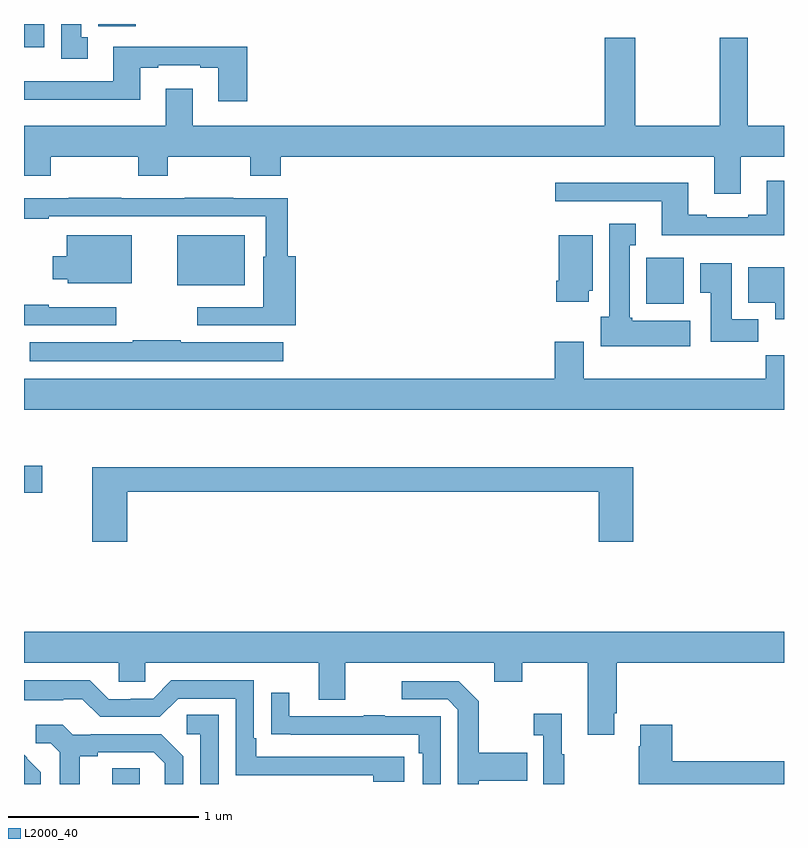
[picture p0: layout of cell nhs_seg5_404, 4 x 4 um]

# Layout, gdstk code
import gdstk
lib = gdstk.Library(unit=1e-6, precision=1e-09)
def R(c, l, rs):  # rectangles x0, y0, x1, y1
    for r in rs: c.add(gdstk.rectangle(r[:2], r[2:], *l))
def P(c, l, *ps):  # polygons
    for p in ps: c.add(gdstk.Polygon(p, *l))
L2000_40 = (2000, 40)

nhs_seg5_404 = lib.new_cell('nhs_seg5_404')
R(nhs_seg5_404, L2000_40, [(137.465,846.799,137.61,846.881), (137,848.333,137.095,848.475), (140.276,849.326,140.473,849.568), (137.807,849.425,138.163,849.688), (137,850.676,137.107,850.799), (137.391,850.788,137.587,850.799)])
P(nhs_seg5_404, L2000_40, [(137.335,850.729),(137.302,850.729),(137.302,850.799),(137.195,850.799),(137.195,850.617),(137.335,850.617)],
  [(140.773,850.1),(141,850.1),(141,850.264),(140.809,850.264),(140.809,850.726),(140.662,850.726),(140.662,850.264),(140.217,850.264),(140.217,850.726),(140.057,850.726),(140.057,850.264),(137.887,850.264),(137.887,850.459),(137.747,850.459),(137.747,850.264),(137,850.264),(137,850.001),(137.14,850.001),(137.14,850.1),(137.602,850.1),(137.602,850.001),(137.757,850.001),(137.757,850.1),(138.19,850.1),(138.19,850.001),(138.35,850.001),(138.35,850.1),(140.633,850.1),(140.633,849.906),(140.773,849.906)],
  [(138.176,850.678),(137.471,850.678),(137.471,850.497),(137,850.497),(137,850.4),(137.611,850.4),(137.611,850.569),(137.707,850.569),(137.707,850.581),(137.927,850.581),(137.927,850.569),(138.023,850.569),(138.023,850.392),(138.176,850.392)],
  [(141,849.973),(140.909,849.973),(140.909,849.796),(140.813,849.796),(140.813,849.783),(140.593,849.783),(140.593,849.796),(140.497,849.796),(140.497,849.964),(139.797,849.964),(139.797,849.867),(140.357,849.867),(140.357,849.686),(141,849.686)],
  [(138.431,849.577),(138.389,849.577),(138.389,849.882),(138.101,849.882),(138.101,849.884),(137.845,849.884),(137.845,849.882),(137.513,849.882),(137.513,849.884),(137.236,849.884),(137.236,849.882),(137,849.882),(137,849.774),(137.129,849.774),(137.129,849.786),(138.273,849.786),(138.273,849.573),(138.26,849.573),(138.26,849.309),(137.913,849.309),(137.913,849.213),(138.431,849.213)],
  [(140.506,849.238),(140.202,849.238),(140.202,849.252),(140.188,849.252),(140.188,849.635),(140.221,849.635),(140.221,849.748),(140.081,849.748),(140.081,849.258),(140.036,849.258),(140.036,849.104),(140.506,849.104)],
  [(137.566,849.688),(137.225,849.688),(137.225,849.577),(137.15,849.577),(137.15,849.455),(137.229,849.455),(137.229,849.434),(137.566,849.434)],
  [(139.972,849.396),(139.993,849.396),(139.993,849.688),(139.814,849.688),(139.814,849.448),(139.802,849.448),(139.802,849.336),(139.972,849.336)],
  [(140.864,849.244),(140.725,849.244),(140.725,849.541),(140.558,849.541),(140.558,849.385),(140.615,849.385),(140.615,849.126),(140.864,849.126)],
  [(141,849.52),(140.813,849.52),(140.813,849.332),(140.954,849.332),(140.954,849.245),(141,849.245)],
  [(137.485,849.309),(137.129,849.309),(137.129,849.322),(137,849.322),(137,849.213),(137.485,849.213)],
  [(138.364,849.124),(137.825,849.124),(137.825,849.134),(137.572,849.134),(137.572,849.124),(137.031,849.124),(137.031,849.023),(138.364,849.023)],
  [(141,849.056),(140.905,849.056),(140.905,848.932),(139.945,848.932),(139.945,849.127),(139.793,849.127),(139.793,848.932),(137,848.932),(137,848.768),(141,848.768)],
  [(137.543,848.338),(140.024,848.338),(140.024,848.073),(140.207,848.073),(140.207,848.467),(137.36,848.467),(137.36,848.073),(137.543,848.073)],
  [(137,847.436),(137.499,847.436),(137.499,847.338),(137.637,847.338),(137.637,847.436),(138.551,847.436),(138.551,847.242),(138.691,847.242),(138.691,847.436),(139.475,847.436),(139.475,847.337),(139.623,847.337),(139.623,847.436),(139.967,847.436),(139.967,847.059),(140.107,847.059),(140.107,847.171),(140.12,847.171),(140.12,847.436),(141,847.436),(141,847.6),(137,847.6)],
  [(139,846.942),(138.223,846.942),(138.223,847.039),(138.21,847.039),(138.21,847.344),(137.775,847.344),(137.679,847.248),(137.561,847.248),(137.561,847.245),(137.445,847.245),(137.345,847.345),(137,847.345),(137,847.241),(137.207,847.241),(137.207,847.245),(137.307,847.245),(137.4,847.152),(137.715,847.152),(137.811,847.248),(138.114,847.248),(138.114,846.846),(138.839,846.846),(138.839,846.812),(139,846.812)],
  [(139.393,846.815),(139.649,846.815),(139.649,846.963),(139.393,846.963),(139.393,847.235),(139.287,847.341),(138.987,847.341),(138.987,847.245),(139.23,847.245),(139.284,847.191),(139.284,846.799),(139.393,846.799)],
  [(139.194,847.155),(138.899,847.155),(138.899,847.16),(138.787,847.16),(138.787,847.155),(138.397,847.155),(138.397,847.279),(138.301,847.279),(138.301,847.06),(138.403,847.06),(138.403,847.059),(139.078,847.059),(139.078,846.962),(139.098,846.962),(139.098,846.799),(139.194,846.799)],
  [(139.843,846.955),(139.831,846.955),(139.831,847.168),(139.683,847.168),(139.683,847.055),(139.734,847.055),(139.734,846.799),(139.843,846.799)],
  [(138.024,847.163),(137.856,847.163),(137.856,847.062),(137.928,847.062),(137.928,846.799),(138.024,846.799)],
  [(137.293,846.944),(137.389,846.944),(137.389,846.966),(137.684,846.966),(137.741,846.909),(137.741,846.799),(137.838,846.799),(137.838,846.946),(137.722,847.062),(137.35,847.062),(137.35,847.059),(137.256,847.059),(137.204,847.111),(137.061,847.111),(137.061,847.014),(137.142,847.014),(137.189,846.967),(137.189,846.799),(137.293,846.799)],
  [(141,846.92),(140.411,846.92),(140.411,847.111),(140.243,847.111),(140.243,846.998),(140.236,846.998),(140.236,846.799),(141,846.799)],
  [(137.088,846.862),(137.015,846.935),(137.016,846.936),(137,846.952),(137,846.799),(137.088,846.799)])

lib.write_gds('nhs_seg5_404.gds')
